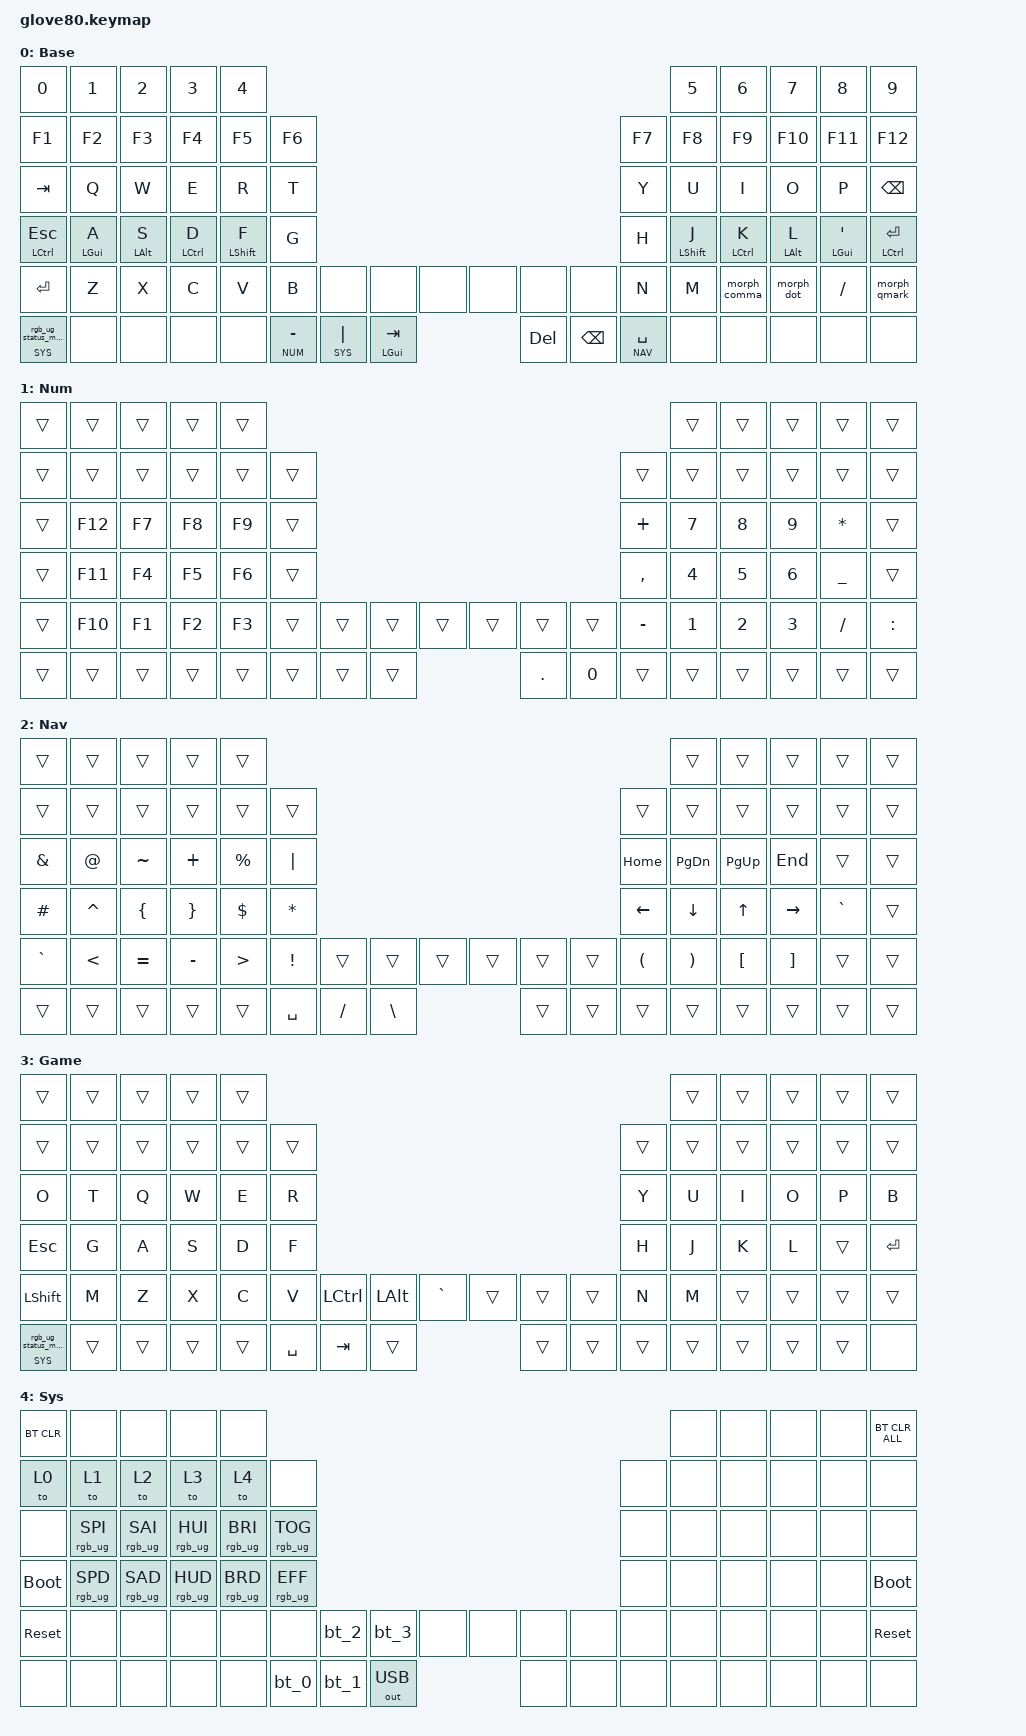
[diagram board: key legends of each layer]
/*
* Copyright (c) 2020 The ZMK Contributors
*
* SPDX-License-Identifier: MIT
*/

#include <behaviors.dtsi>
#include <dt-bindings/zmk/keys.h>
#include <dt-bindings/zmk/bt.h>
#include <dt-bindings/zmk/ext_power.h>
#include <dt-bindings/zmk/outputs.h>
#include <dt-bindings/zmk/rgb.h>
#include <dt-bindings/zmk/mouse.h>

#define HYPER LC(LS(LG(LALT)))

// layers
#define BASE 0
#define NUM 1
#define NAV 2
#define GAME 3
#define SYS 4

// Layers
#define ___ &trans
#define _x_ &none
#define _0_ &to BASE

#include "includes/glove80-keys.h"
#include "includes/mods.dtsi"
#include "includes/morphs.dtsi"
#include "includes/combos.dtsi"
#include "includes/settings.dtsi"

/ {
  macros {
    rgb_ug_status_macro: rgb_ug_status_macro {
      label = "RGB_UG_STATUS";
      compatible = "zmk,behavior-macro";
      #binding-cells = <0>;
      bindings
        = <&rgb_ug RGB_STATUS>;
    };

    bt_0: bt_profile_macro_0 {
      label = "BT_0";
      compatible = "zmk,behavior-macro";
      #binding-cells = <0>;
      bindings
        = <&out OUT_BLE>,
        <&bt BT_SEL 0>;
    };

    bt_1: bt_profile_macro_1 {
      label = "BT_1";
      compatible = "zmk,behavior-macro";
      #binding-cells = <0>;
      bindings
        = <&out OUT_BLE>,
        <&bt BT_SEL 1>;
    };

    bt_2: bt_profile_macro_2 {
      label = "BT_2";
      compatible = "zmk,behavior-macro";
      #binding-cells = <0>;
      bindings
        = <&out OUT_BLE>,
        <&bt BT_SEL 2>;
    };

    bt_3: bt_profile_macro_3 {
      label = "BT_3";
      compatible = "zmk,behavior-macro";
      #binding-cells = <0>;
      bindings
        = <&out OUT_BLE>,
        <&bt BT_SEL 3>;
    };

  };

  behaviors {
    // For the "layer" key, it'd nice to be able to use it as either a shift or a toggle.
    // Configure it as a tap dance, so the first tap (or hold) is a &mo and the second tap is a &to

    magic: magic {
      compatible = "zmk,behavior-hold-tap";
      label = "MAGIC_HOLD_TAP";
      #binding-cells = <2>;
      flavor = "tap-preferred";
      tapping-term-ms = <200>;
      bindings = <&mo>, <&rgb_ug_status_macro>;
    };

  };

  keymap {
    compatible = "zmk,keymap";

    layer_qwerty {
      display-name = "Base";
      bindings = <
        &kp N0         &kp N1      &kp N2      &kp N3       &kp N4                                                                                               &kp N5       &kp N6       &kp N7      &kp N8        &kp N9
        &kp F1         &kp F2      &kp F3      &kp F4       &kp F5       &kp F6                                                                           &kp F7 &kp F8       &kp F9       &kp F10     &kp F11       &kp F12
        &kp TAB        &kp Q       &kp W       &kp E        &kp R        &kp T                                                                            &kp Y  &kp U        &kp I        &kp O       &kp P         &kp BSPC
        &mt LCTRL ESC  &hml LGUI A &hml LALT S &hml LCTRL D &hml LSHFT F &kp G                                                                            &kp H  &hmr LSHFT J &hmr LCTRL K &hmr LALT L &hmr LGUI SQT &mt LCTRL RET
        &kp RET        &kp Z       &kp X       &kp C        &kp V        &kp B _x_            _x_           _x_           _x_     _x_       _x_           &kp N  &kp M        &morph_comma &morph_dot  &kp FSLH      &morph_qmark
        &magic SYS 0 _x_         _x_         _x_          _x_                &lt NUM MINUS  &lt SYS PIPE  &mt LGUI TAB  &kp DEL &kp BSPC  &lt NAV SPACE        _x_          _x_          _x_         _x_           _x_
      >;
    };

    layer_numpad {
      display-name = "Num";
      bindings = <
        ___ ___     ___    ___    ___                                                  ___     ___      ___     ___        ___
        ___ ___     ___    ___    ___    ___                                ___        ___     ___      ___     ___        ___
        ___ &kp F12 &kp F7 &kp F8 &kp F9 ___                                &kp PLUS   &kp N7  &kp N8   &kp N9  &kp STAR   ___
        ___ &kp F11 &kp F4 &kp F5 &kp F6 ___                                &kp COMMA  &kp N4  &kp N5   &kp N6  &kp UNDER  ___
        ___ &kp F10 &kp F1 &kp F2 &kp F3 ___ ___ ___ ___ ___     ___    ___ &kp MINUS  &kp N1  &kp N2   &kp N3  &kp FSLH   &kp COLON
        ___ ___     ___    ___    ___        ___ ___ ___ &kp DOT &kp N0 ___            ___     ___      ___     ___        ___
            >;
    };

    layer_navigation {
      display-name = "Nav";
      bindings = <
        ___       ___       ___       ___       ___                                                                  ___       ___       ___       ___       ___
        ___       ___       ___       ___       ___       ___                                              ___       ___       ___       ___       ___       ___
        &kp AMPS  &kp AT    &kp TILDE &kp PLUS  &kp PRCNT &kp PIPE                                         &kp HOME  &kp PG_DN &kp PG_UP &kp END   ___       ___
        &kp HASH  &kp CARET &kp LBRC  &kp RBRC  &kp DLLR  &kp STAR                                         &kp LEFT  &kp DOWN  &kp UP    &kp RIGHT &kp GRAVE ___
        &kp GRAVE &kp LT    &kp EQUAL &kp MINUS &kp GT    &kp EXCL ___      ___      ___       ___ ___ ___ &kp LPAR  &kp RPAR  &kp LBKT  &kp RBKT  ___       ___
        ___       ___       ___       ___       ___                &kp SPACE &kp FSLH &kp BSLH ___ ___ ___           ___       ___       ___       ___       ___
      >;
    };

    layer_gaming {
      display-name = "Game";
      bindings = <
        ___           ___   ___   ___   ___                                                                         ___   ___   ___   ___   ___
        ___           ___   ___   ___   ___   ___                                                                ___   ___   ___   ___   ___   ___
        &kp O            &kp T    &kp Q    &kp W    &kp E    &kp R                                                                 &kp Y    &kp U    &kp I    &kp O    &kp P    &kp B
        &kp ESC          &kp G    &kp A    &kp S    &kp D    &kp F                                                                 &kp H    &kp J    &kp K    &kp L    ___   &kp RET
        &kp LSHIFT        &kp M    &kp Z    &kp X    &kp C    &kp V   &kp LCTRL   &kp LALT   &kp GRAVE   ___   ___   ___   &kp N    &kp M    ___   ___   ___   ___
        &magic SYS 0   ___   ___   ___   ___           &kp SPACE   &kp TAB    ___      ___   ___   ___            ___   ___   ___   ___   _x_
      >;
    };

    layer_system {
      display-name = "Sys";
      bindings = <
        &bt BT_CLR            _x_            _x_            _x_            _x_                                                                                  _x_   _x_   _x_   _x_  &bt BT_CLR_ALL
        &to 0            &to 1            &to 2            &to 3            &to 4            _x_                                                         _x_   _x_   _x_   _x_   _x_           _x_
        _x_  &rgb_ug RGB_SPI  &rgb_ug RGB_SAI  &rgb_ug RGB_HUI  &rgb_ug RGB_BRI  &rgb_ug RGB_TOG                                                         _x_   _x_   _x_   _x_   _x_           _x_
        &bootloader  &rgb_ug RGB_SPD  &rgb_ug RGB_SAD  &rgb_ug RGB_HUD  &rgb_ug RGB_BRD  &rgb_ug RGB_EFF                                                         _x_   _x_   _x_   _x_   _x_     &bootloader
        &sys_reset            _x_            _x_            _x_            _x_            _x_   &bt_2   &bt_3         _x_   _x_   _x_   _x_   _x_   _x_   _x_   _x_   _x_      &sys_reset
        _x_            _x_            _x_            _x_            _x_                    &bt_0   &bt_1  &out OUT_USB   _x_   _x_   _x_           _x_   _x_   _x_   _x_           _x_
      >;
    };

  };
};
